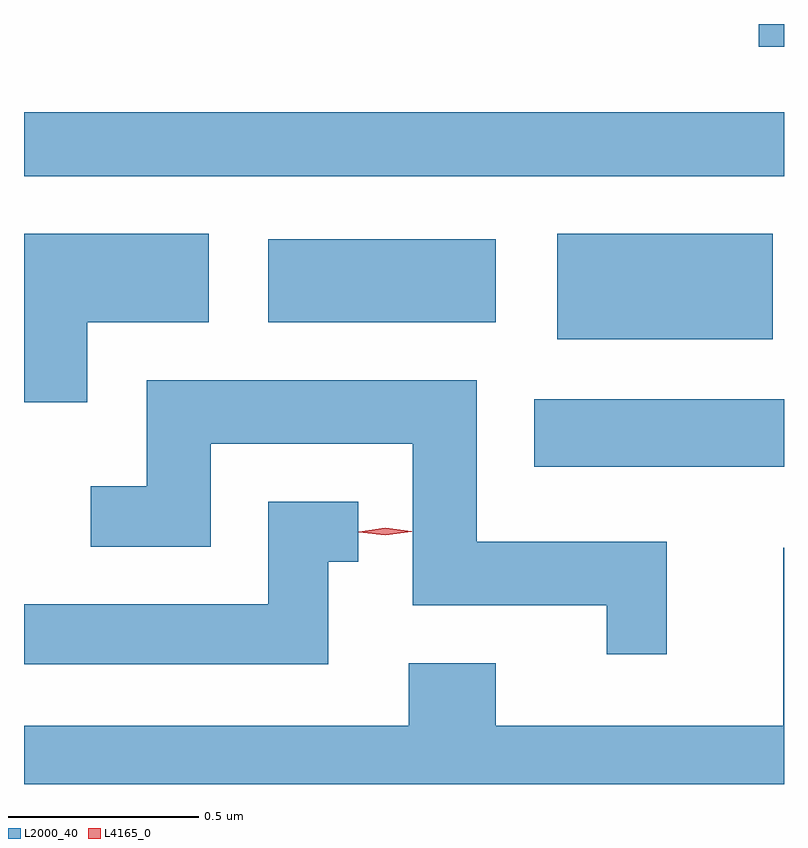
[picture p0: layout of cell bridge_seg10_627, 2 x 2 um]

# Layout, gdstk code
import gdstk
lib = gdstk.Library(unit=1e-6, precision=1e-09)
def R(c, l, rs):  # rectangles x0, y0, x1, y1
    for r in rs: c.add(gdstk.rectangle(r[:2], r[2:], *l))
def P(c, l, *ps):  # polygons
    for p in ps: c.add(gdstk.Polygon(p, *l))
L2000_40 = (2000, 40)
L4165_0 = (4165, 0)

bridge_seg10_627 = lib.new_cell('bridge_seg10_627')
R(bridge_seg10_627, L2000_40, [(699.601,2128.186,700.258,2128.364), (699.661,2128.521,700.229,2128.799), (698.901,2128.566,699.499,2128.784), (698.258,2128.951,700.258,2129.119), (700.191,2129.291,700.258,2129.351)])
P(bridge_seg10_627, L2000_40, [(698.424,2128.566),(698.744,2128.566),(698.744,2128.799),(698.258,2128.799),(698.258,2128.356),(698.424,2128.356)],
  [(699.949,2127.989),(699.449,2127.989),(699.449,2128.414),(698.581,2128.414),(698.581,2128.134),(698.433,2128.134),(698.433,2127.976),(698.749,2127.976),(698.749,2128.246),(699.281,2128.246),(699.281,2127.821),(699.791,2127.821),(699.791,2127.693),(699.949,2127.693)],
  [(699.059,2127.936),(699.138,2127.936),(699.138,2128.094),(698.901,2128.094),(698.901,2127.824),(698.258,2127.824),(698.258,2127.666),(699.059,2127.666)],
  [(700.258,2127.973),(700.256,2127.973),(700.256,2127.504),(699.499,2127.504),(699.499,2127.669),(699.271,2127.669),(699.271,2127.504),(698.258,2127.504),(698.258,2127.351),(700.258,2127.351)])
P(bridge_seg10_627, L4165_0, [(699.208,2128.006),(699.139,2128.014),(699.139,2128.015),(699.139,2128.015),(699.208,2128.025),(699.278,2128.016),(699.278,2128.016),(699.278,2128.015)])

lib.write_gds('bridge_seg10_627.gds')
